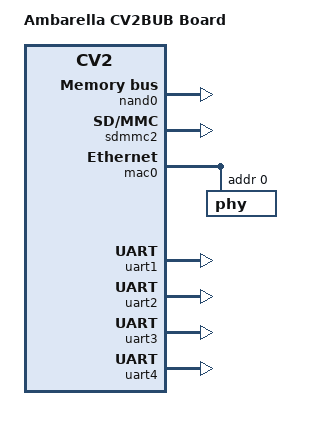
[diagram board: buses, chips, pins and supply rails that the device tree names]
/*
 * Copyright (C) 2013 Ambarella,Inc. - http://www.ambarella.com/
 * Author: Cao Rongrong <rrcao@ambarella.com>
 *
 * This program is free software; you can redistribute it and/or modify
 * it under the terms of the GNU General Public License version 2 as
 * published by the Free Software Foundation.
 */
/dts-v1/;

/include/ "ambarella-cv2-ambalink.dtsi"

/ {
	model = "Ambarella CV2BUB Board";
	compatible = "ambarella,cv2bub", "ambarella,cv2";

	chosen {
	};

	n_apb@e4000000 {
		uart0: uart@e4000000 {
			status = "disabled";
		};
	};

	n_ahb@e0000000 {
		nand0: nand@e0002000 {
			status = "ok";
		};

		sdmmc0: sdmmc0@e0004000 {
			/*pwr-gpios = <&gpio 109 0x1>;*/
			/*v18-gpios = <&gpio 162 0x1>;*/
			status = "disabled";
		};

		sdmmc2: sdmmc2@e0005000 { /* SDXC rather than SDIO */
			/*pwr-gpios = <&gpio 110 0x1>;*/
			/*v18-gpios = <&gpio 163 0x1>;*/
			keep-power-in-suspend;
			no-1-8-v;
			max-frequency = <50000000>;
			status = "ok";
		};

		dma0: dma@e000a000 {
			/* amb,dma-startchannel = <2>; */ /* Prevent conflict between RTOS. */
			status = "disabled";
		};

		dma1: dma@e000b000 {
			/* amb,dma-startchannel = <2>; */ /* Prevent conflict between RTOS. */
			status = "disabled";
		};

		mac0: ethernet@e000e000 {
			amb,tx-clk-invert;
#if 0
			pinctrl-0 = <&rgmii_pins &ahb_mdio_pins>;
			amb,ahb-12mhz-div = <1>;
#endif
			phy@0 {
				reg = <0>;
				/*rst-gpios = <&pca9539 11 0>;*/
			};
		};
		/*
		mac0: ethernet@e000e000 {
			device_type 	= "network";
			compatible	= "st,stih416-dwmac", "snps,dwmac", "snps,dwmac-3.710";
			status 		= "ok";
			reg		= <0xe000e000 0x8000>;
			reg-names	= "stmmaceth";
			interrupts = <0 58 0x4>;
			interrupt-names = "macirq";
			snps,pbl 	= <32>;
			snps,mixed-burst;
			snps,scr-regmap = <&scratchpad_syscon>;
			phy-handle = <&ethernet_phy>;
			mdio {
				compatible = "snps,dwmac-mdio";
				ethernet_phy: ethernet-phy@0 {
					reg = <0>;
					compatible = "ethernet-phy-id0007.0570";
				};
			};
		};
		*/

		uart1: uart@e0016000 {
			pinctrl-0 = <&uart1_pins &uart1_flow_pins>;
			/*/delete-property/amb,msr-used;*/
			/*amb,txdma-used;*/
			/*amb,rxdma-used;*/
			/*dmas = <&dma0 8>, <&dma0 9>;*/
			/*dma-names = "tx", "rx";*/
			status = "ok";
		};

		uart2: uart@e0017000 {
			pinctrl-0 = <&uart2_pins &uart2_flow_pins>;
			/*/delete-property/amb,msr-used;*/
			/*amb,txdma-used;*/
			/*amb,rxdma-used;*/
			/*dmas = <&dma1 12>, <&dma1 13>;*/
			/*dma-names = "tx", "rx";*/
			status = "ok";
		};

		uart3: uart@e0018000 {
			pinctrl-0 = <&uart3_pins &uart3_flow_pins>;
			/*/delete-property/amb,msr-used;*/
			/*amb,txdma-used;*/
			/*amb,rxdma-used;*/
			/*dmas = <&dma1 14>, <&dma1 15>;*/
			/*dma-names = "tx", "rx";*/
			status = "ok";
		};

		uart4: uart@e0019000 {
			pinctrl-0 = <&uart4_pins &uart4_flow_pins>;
			/*/delete-property/amb,msr-used;*/
			/*amb,txdma-used;*/
			/*amb,rxdma-used;*/
			/*dmas = <&dma1 16>, <&dma1 17>;*/
			/*dma-names = "tx", "rx";*/
			status = "ok";
		};

	};

	rct@ed080000 {
		usbphy: usbphy@ed080050 {
			/* high will trigger the ocp interrupt */
			amb,ocp-polarity = <0>;
			pinctrl-names = "default";
			pinctrl-0 = <&usb_host0_pins_a>;
			status = "disabled";
		};
	};

	/* for profiling, see aipc_profile.c */
	profile_timer {
		compatible = "ambarella,timer19";
		reg = <0xe4006088 0x4>;
	};

	ambalink {
		compatible = "simple-bus";
		#address-cells = <1>;
		#size-cells = <1>;

		aipc_mutex: ambarella-ipc-mutex {
			compatible = "ambarella,ipc-mutex";
			interrupts = <0 96 0x4>;
			amb,scr-regmap = <&scratchpad_syscon>;
		};

		/* must be consistent with ambalink_cfg.h */
		rproc0: ambarella-rproc {
			compatible = "ambarella,rproc";
			interrupts = <0 91 0x4>,	/* rvq_rx_irq, get rvq kick from rtos */
				     <0 92 0x4>;	/* svq_rx_irq, get svq ack from rtos */
			amb,scr-regmap = <&scratchpad_syscon>;
		};
	};
};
